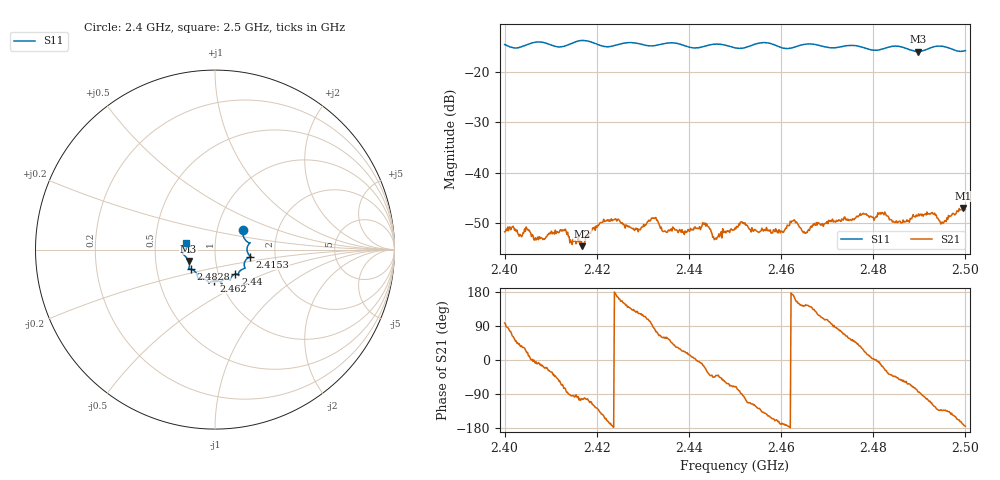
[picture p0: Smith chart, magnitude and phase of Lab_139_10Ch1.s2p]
# Hz S RI R 50
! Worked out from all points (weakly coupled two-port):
!   601 points, 2.4 GHz to 2.5 GHz, reference 50 ohm
!   highest |S21| = -47.07 dB at 2.4995 GHz (marker M1); lowest = -54.7 dB at 2.4168 GHz (marker M2)
!   lowest |S11| = -15.9 dB at 2.4897 GHz (marker M3), VSWR 1.38, Z = 36.9 - j4.82 ohm
!   |S11| at or under -10 dB: start of sweep to end of sweep
!   S12 and S22 are empty: the file has one direction only
!   S11 on the Smith chart (normalised r, x): 2.4 GHz: 1.33, +0.29; 2.4153 GHz: 1.48, -0.12; 2.44 GHz: 1.21, -0.34; 2.462 GHz: 0.93, -0.33; 2.4828 GHz: 0.74, -0.17; 2.5 GHz: 0.72, +0.06
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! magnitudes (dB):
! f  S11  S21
! 2.4 GHz  -14.5  -51.8
! 2.4068 GHz  -14.0  -53.4
! 2.4127 GHz  -14.9  -51.7
! 2.4153 GHz  -14.0  -53.5
! 2.4167 GHz  -13.7  -53.8
! 2.4168 GHz  -13.7  -54.7
! 2.4218 GHz  -14.9  -49.7
! 2.4287 GHz  -14.2  -51.3
! 2.4333 GHz  -14.6  -49.9
! 2.44 GHz  -15.0  -51.6
! 2.4435 GHz  -14.8  -50.1
! 2.4457 GHz  -14.4  -53.3
! 2.45 GHz  -15.1  -51.0
! 2.4602 GHz  -15.1  -51.7
! 2.462 GHz  -15.2  -49.7
! 2.4667 GHz  -14.4  -50.9
! 2.4828 GHz  -15.1  -48.6
! 2.4833 GHz  -15.0  -48.9
! 2.4897 GHz  -15.9  -48.7
! 2.4952 GHz  -14.9  -50.1
! 2.4995 GHz  -15.8  -47.1
! 2.5 GHz  -15.7  -47.4
